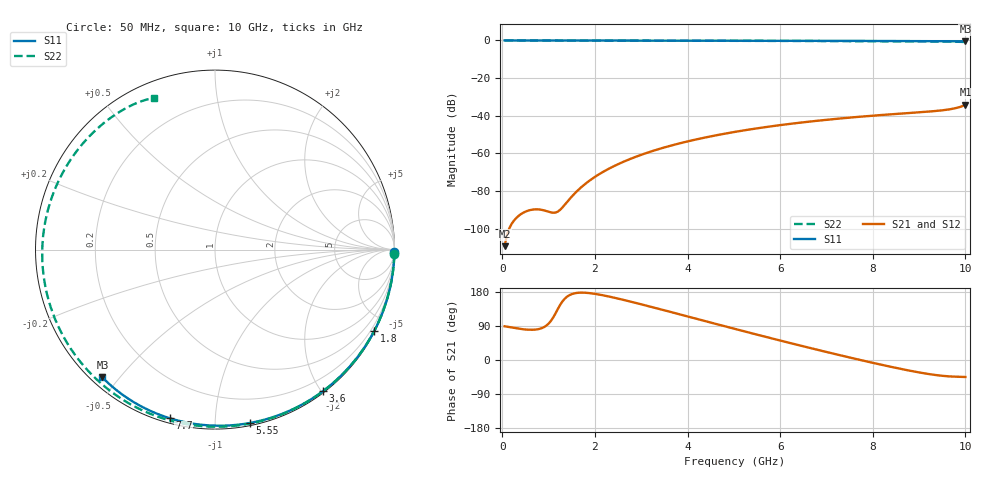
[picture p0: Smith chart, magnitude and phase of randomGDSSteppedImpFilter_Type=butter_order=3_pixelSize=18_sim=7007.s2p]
! freq	dB(S11)	phase(S11)	dB(S12)	phase(S12)
!  dB(S21)	phase(S21)	dB(S22)	phase(S22)
!S-par simulation data
#  GHz  S  DB  R 50
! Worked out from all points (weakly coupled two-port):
!   200 points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, 50 MHz to 10 GHz, reference 50 ohm
!   highest |S21| = -34.19 dB at 10 GHz (marker M1); lowest = -109.3 dB at 50 MHz (marker M2)
!   lowest |S11| = -0.5 dB at 10 GHz (marker M3), VSWR 37.97, Z = 1.59 - j22.6 ohm
!   |S11| at or under -10 dB: nowhere
!   |S22| runs from -0.8 to 0.0 dB; largest |S21 - S12| = 0
!   S11 on the Smith chart (normalised r, x): 50 MHz: open; 1.8 GHz: 0.04, -4.17; 3.6 GHz: 0.02, -2.02; 5.55 GHz: 0.02, -1.22; 7.7 GHz: 0.02, -0.77; 10 GHz: 0.03, -0.45
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0.05  -0.00 -0.8  -109.34 89.0  -109.34 89.0  -0.00 -1.5
0.4  -0.01 -6.1  -92.35 81.8  -92.35 81.8  -0.02 -12.2
0.8  -0.02 -12.1  -89.85 82.0  -89.85 82.0  -0.03 -24.3
1.6  -0.03 -24.0  -80.41 176.9  -80.41 176.9  -0.06 -47.7
1.75  -0.03 -26.2  -77.07 177.7  -77.07 177.7  -0.07 -52.0
1.8  -0.03 -26.9  -76.07 177.4  -76.07 177.4  -0.07 -53.4
2.1  -0.04 -31.3  -70.96 172.5  -70.96 172.5  -0.08 -61.8
2.5  -0.05 -37.1  -65.76 162.1  -65.76 162.1  -0.09 -72.7
2.9  -0.06 -42.9  -61.67 150.1  -61.67 150.1  -0.10 -83.2
3.4  -0.07 -49.9  -57.58 134.3  -57.58 134.3  -0.12 -95.8
3.6  -0.07 -52.7  -56.17 127.9  -56.17 127.9  -0.13 -100.8
4.3  -0.09 -62.3  -52.00 105.3  -52.00 105.3  -0.16 -117.5
5.05  -0.11 -72.2  -48.48 81.2  -48.48 81.2  -0.19 -134.5
5.55  -0.13 -78.7  -46.53 65.4  -46.53 65.4  -0.22 -145.6
6.15  -0.15 -86.3  -44.53 46.8  -44.53 46.8  -0.26 -158.6
6.7  -0.18 -93.1  -42.95 30.1  -42.95 30.1  -0.30 -170.5
7.7  -0.24 -105.1  -40.59 0.9  -40.59 0.9  -0.38 167.6
8.35  -0.29 -112.7  -39.33 -16.9  -39.33 -16.9  -0.44 153.0
8.95  -0.34 -119.6  -38.28 -31.7  -38.28 -31.7  -0.51 138.9
9.55  -0.40 -126.4  -36.99 -42.3  -36.99 -42.3  -0.60 123.9
9.8  -0.43 -129.2  -35.92 -44.1  -35.92 -44.1  -0.68 117.3
10  -0.46 -131.4  -34.19 -44.8  -34.19 -44.8  -0.82 111.8
